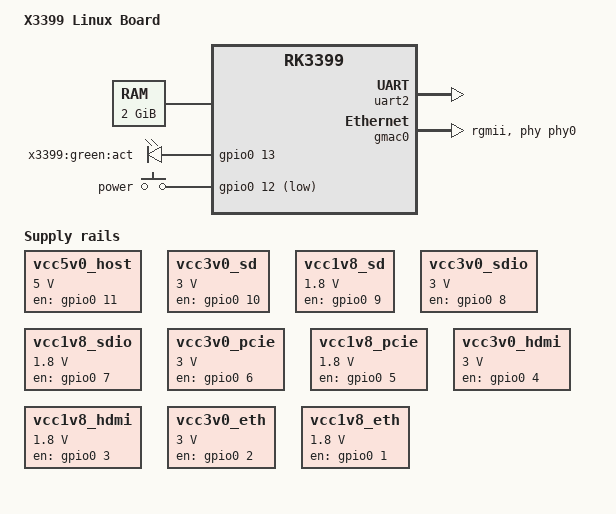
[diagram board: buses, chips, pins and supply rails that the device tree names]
// SPDX-License-Identifier: (GPL-2.0+ OR MIT)
/*
 * Copyright (c) 2023 FriendlyElec Computer Tech. Co., Ltd.
 * (http://www.friendlyelec.com)
 */

/dts-v1/;
#include "rk3399.dtsi"
#include "rk3399-opp.dtsi"

/ {
	model = "X3399 Linux Board";
	compatible = "x3399,linux", "rockchip,rk3399";

	chosen {
		stdout-path = "serial2:1500000n8";
	};

	aliases {
		ethernet0 = &gmac0;
		serial2 = &uart2;
	};

	memory@00000000 {
		device_type = "memory";
		reg = <0x0 0x0 0x0 0x80000000>;
	};

	leds {
		compatible = "gpio-leds";
		pinctrl-names = "default";
		pinctrl-0 = <&led_act_pin>;

		led-act {
			label = "x3399:green:act";
			gpios = <&gpio0 13 GPIO_ACTIVE_HIGH>;
			linux,default-trigger = "heartbeat";
			default-state = "on";
		};
	};

	gpio-keys {
		compatible = "gpio-keys";
		pinctrl-names = "default";
		pinctrl-0 = <&pwr_key_pin>;

		power {
			label = "power";
			gpios = <&gpio0 12 GPIO_ACTIVE_LOW>;
			linux,code = <KEY_POWER>;
			wakeup-source;
		};
	};

	usb20_host: usb20-host {
		compatible = "usb-bus";
		#address-cells = <1>;
		#size-cells = <0>;
	};

	usb30_host: usb30-host {
		compatible = "usb-bus";
		#address-cells = <1>;
		#size-cells = <0>;
	};

	vcc5v0_host: vcc5v0-host {
		compatible = "regulator-fixed";
		regulator-name = "vcc5v0_host";
		regulator-min-microvolt = <5000000>;
		regulator-max-microvolt = <5000000>;
		gpio = <&gpio0 11 GPIO_ACTIVE_HIGH>;
		enable-active-high;
	};

	vcc3v0_sd: vcc3v0-sd {
		compatible = "regulator-fixed";
		regulator-name = "vcc3v0_sd";
		regulator-min-microvolt = <3000000>;
		regulator-max-microvolt = <3000000>;
		gpio = <&gpio0 10 GPIO_ACTIVE_HIGH>;
		enable-active-high;
	};

	vcc1v8_sd: vcc1v8-sd {
		compatible = "regulator-fixed";
		regulator-name = "vcc1v8_sd";
		regulator-min-microvolt = <1800000>;
		regulator-max-microvolt = <1800000>;
		gpio = <&gpio0 9 GPIO_ACTIVE_HIGH>;
		enable-active-high;
	};

	vcc3v0_sdio: vcc3v0-sdio {
		compatible = "regulator-fixed";
		regulator-name = "vcc3v0_sdio";
		regulator-min-microvolt = <3000000>;
		regulator-max-microvolt = <3000000>;
		gpio = <&gpio0 8 GPIO_ACTIVE_HIGH>;
		enable-active-high;
	};

	vcc1v8_sdio: vcc1v8-sdio {
		compatible = "regulator-fixed";
		regulator-name = "vcc1v8_sdio";
		regulator-min-microvolt = <1800000>;
		regulator-max-microvolt = <1800000>;
		gpio = <&gpio0 7 GPIO_ACTIVE_HIGH>;
		enable-active-high;
	};

	vcc3v0_pcie: vcc3v0-pcie {
		compatible = "regulator-fixed";
		regulator-name = "vcc3v0_pcie";
		regulator-min-microvolt = <3000000>;
		regulator-max-microvolt = <3000000>;
		gpio = <&gpio0 6 GPIO_ACTIVE_HIGH>;
		enable-active-high;
	};

	vcc1v8_pcie: vcc1v8-pcie {
		compatible = "regulator-fixed";
		regulator-name = "vcc1v8_pcie";
		regulator-min-microvolt = <1800000>;
		regulator-max-microvolt = <1800000>;
		gpio = <&gpio0 5 GPIO_ACTIVE_HIGH>;
		enable-active-high;
	};

	vcc3v0_hdmi: vcc3v0-hdmi {
		compatible = "regulator-fixed";
		regulator-name = "vcc3v0_hdmi";
		regulator-min-microvolt = <3000000>;
		regulator-max-microvolt = <3000000>;
		gpio = <&gpio0 4 GPIO_ACTIVE_HIGH>;
		enable-active-high;
	};

	vcc1v8_hdmi: vcc1v8-hdmi {
		compatible = "regulator-fixed";
		regulator-name = "vcc1v8_hdmi";
		regulator-min-microvolt = <1800000>;
		regulator-max-microvolt = <1800000>;
		gpio = <&gpio0 3 GPIO_ACTIVE_HIGH>;
		enable-active-high;
	};

	vcc3v0_eth: vcc3v0-eth {
		compatible = "regulator-fixed";
		regulator-name = "vcc3v0_eth";
		regulator-min-microvolt = <3000000>;
		regulator-max-microvolt = <3000000>;
		gpio = <&gpio0 2 GPIO_ACTIVE_HIGH>;
		enable-active-high;
	};

	vcc1v8_eth: vcc1v8-eth {
		compatible = "regulator-fixed";
		regulator-name = "vcc1v8_eth";
		regulator-min-microvolt = <1800000>;
		regulator-max-microvolt = <1800000>;
		gpio = <&gpio0 1 GPIO_ACTIVE_HIGH>;
		enable-active-high;
	};
};

&uart2 {
	status = "okay";
	pinctrl-names = "default";
	pinctrl-0 = <&uart2m0_xfer>;
};

&gmac0 {
	status = "okay";
	phy-mode = "rgmii";
	phy-handle = <&phy0>;
};

&pinctrl {
	leds {
		led_act_pin: led-act-pin {
			rockchip,pins = <0 13 RK_FUNC_GPIO &pcfg_pull_none>;
		};
	};

	keys {
		pwr_key_pin: pwr-key-pin {
			rockchip,pins = <0 12 RK_FUNC_GPIO &pcfg_pull_up>;
		};
	};
};
